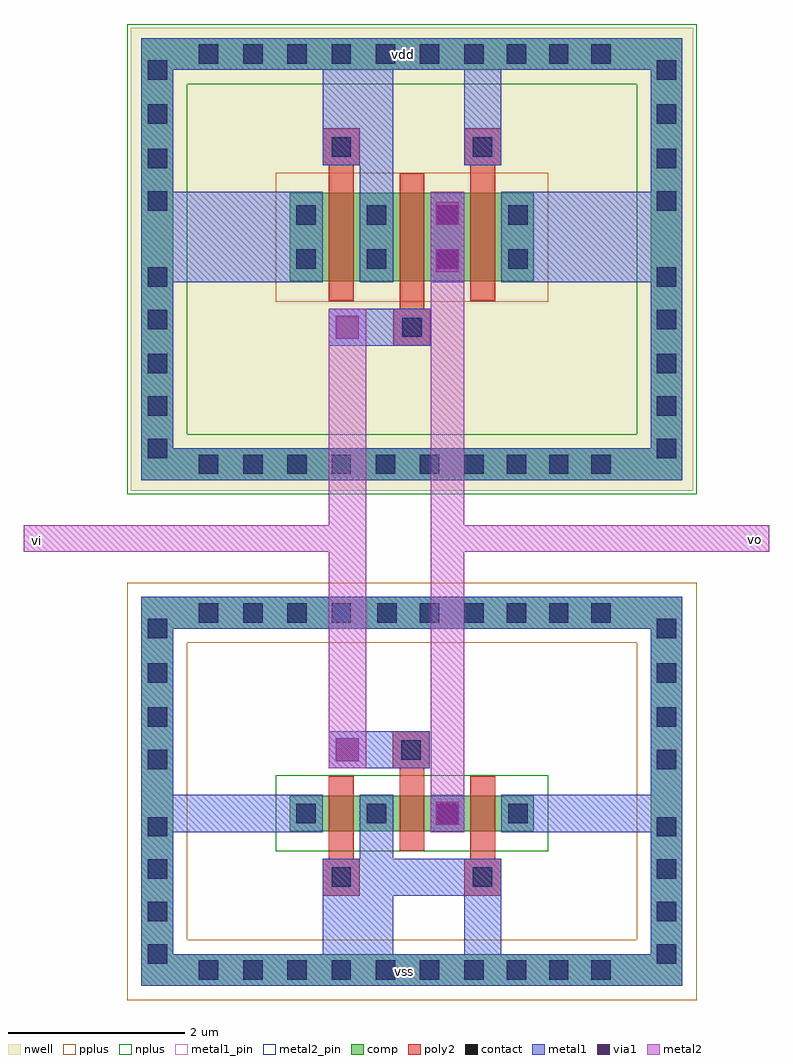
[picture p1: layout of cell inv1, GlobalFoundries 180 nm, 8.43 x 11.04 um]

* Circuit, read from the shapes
.subckt inv1 vdd vi vo vss
XM1 vss vss vss vss nfet_03v3 w=0.4u l=0.28u
XM2 vo vi vss vss nfet_03v3 w=0.4u l=0.28u
XM3 vss vss vo vss nfet_03v3 w=0.4u l=0.28u
XM4 vdd vdd vdd vdd pfet_03v3 w=1u l=0.28u
XM5 vo vi vdd vdd pfet_03v3 w=1u l=0.28u
XM6 vdd vdd vo vdd pfet_03v3 w=1u l=0.28u
.ends

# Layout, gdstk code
import gdstk
lib = gdstk.Library(unit=1e-6, precision=1e-09)
def R(c, l, rs):  # rectangles x0, y0, x1, y1
    for r in rs: c.add(gdstk.rectangle(r[:2], r[2:], *l))
def A(c, l, x, y, w, h, nx, ny, dx, dy):  # array of equal rectangles
    R(c, l, [(x+i*dx, y+j*dy, x+i*dx+w, y+j*dy+h) for i in range(nx) for j in range(ny)])
nwell = (21, 0)
comp = (22, 0)
poly2 = (30, 0)
pplus = (31, 0)
nplus = (32, 0)
contact = (33, 0)
metal1 = (34, 0)
metal1_pin = (34, 10)
via1 = (35, 0)
metal2 = (36, 0)
metal2_pin = (36, 10)

pfet_7_1 = lib.new_cell('pfet$7$1')
R(pfet_7_1, nwell, [(-0.43,-0.43,3.19,1.43)])
R(pfet_7_1, comp, [(0,0,2.76,1)])
A(pfet_7_1, poly2, 0.44, -0.22, 0.28, 1.44, 3, 1, 0.8, 0)
R(pfet_7_1, pplus, [(-0.16,-0.23,2.92,1.23)])
A(pfet_7_1, contact, 0.07, 0.14, 0.22, 0.22, 4, 2, 0.8, 0.5)
A(pfet_7_1, metal1, -0.01, -0.01, 0.38, 1.02, 4, 1, 0.8, 0)

nfet_7_1 = lib.new_cell('nfet$7$1')
R(nfet_7_1, comp, [(0,0,2.76,0.4)])
A(nfet_7_1, poly2, 0.44, -0.22, 0.28, 0.84, 3, 1, 0.8, 0)
R(nfet_7_1, nplus, [(-0.16,-0.23,2.92,0.63)])
A(nfet_7_1, contact, 0.07, 0.09, 0.22, 0.22, 4, 1, 0.8, 0)
A(nfet_7_1, metal1, -0.01, -0.01, 0.38, 0.42, 4, 1, 0.8, 0)

inv1 = lib.new_cell('inv1')
R(inv1, nwell, [(16.74,-0.59,23.1,4.65)])
R(inv1, comp, [(16.86,-6.19,17.38,-5.83), (16.86,-6.19,17.38,-5.83), (17.38,-6.19,20.86,-5.83), (17.38,-6.19,20.86,-5.83), (20.86,-6.19,21.34,-5.83), (20.86,-6.19,21.34,-5.83), (21.34,-6.19,21.82,-5.83), (21.34,-6.19,21.82,-5.83), (21.82,-6.19,22.3,-5.83), (21.82,-6.19,22.3,-5.83), (22.3,-6.19,22.46,-5.83), (22.3,-6.19,22.46,-5.83), (22.3,-6.19,22.46,-5.83), (22.3,-6.19,22.46,-5.83), (22.46,-6.19,22.98,-5.83), (22.46,-6.19,22.98,-5.83), (16.86,-5.83,17.22,-4.22), (16.86,-5.83,17.22,-4.22), (22.62,-5.83,22.98,-4.22), (22.62,-5.83,22.98,-4.22), (16.86,-4.59,17.22,-4.11), (16.86,-4.59,17.22,-4.11), (22.62,-4.59,22.98,-4.11), (22.62,-4.59,22.98,-4.11), (16.86,-4.11,17.22,-3.87), (16.86,-4.11,17.22,-3.87), (22.62,-4.11,22.98,-3.87), (22.62,-4.11,22.98,-3.87), (16.86,-3.87,17.22,-3.39), (16.86,-3.87,17.22,-3.39), (22.62,-3.87,22.98,-3.39), (22.62,-3.87,22.98,-3.39), (16.86,-3.76,17.22,-2.15), (16.86,-3.76,17.22,-2.15), (22.62,-3.76,22.98,-2.15), (22.62,-3.76,22.98,-2.15), (16.86,-2.15,17.38,-1.79), (16.86,-2.15,17.38,-1.79), (17.38,-2.15,20.86,-1.79), (17.38,-2.15,20.86,-1.79), (20.86,-2.15,21.34,-1.79), (20.86,-2.15,21.34,-1.79), (21.34,-2.15,21.82,-1.79), (21.34,-2.15,21.82,-1.79), (21.82,-2.15,22.3,-1.79), (21.82,-2.15,22.3,-1.79), (22.3,-2.15,22.46,-1.79), (22.3,-2.15,22.46,-1.79), (22.46,-2.15,22.98,-1.79), (22.46,-2.15,22.98,-1.79), (16.86,-0.47,17.38,-0.11), (16.86,-0.47,17.38,-0.11), (17.38,-0.47,20.86,-0.11), (17.38,-0.47,20.86,-0.11), (20.86,-0.47,21.34,-0.11), (20.86,-0.47,21.34,-0.11), (21.34,-0.47,21.82,-0.11), (21.34,-0.47,21.82,-0.11), (21.82,-0.47,22.3,-0.11), (21.82,-0.47,22.3,-0.11), (22.3,-0.47,22.46,-0.11), (22.46,-0.47,22.98,-0.11), (22.46,-0.47,22.98,-0.11), (16.86,-0.11,17.22,0.49), (22.62,-0.11,22.98,0.49), (16.86,0.49,17.22,2.1), (16.86,0.49,17.22,2.1), (22.62,0.49,22.98,2.1), (22.62,0.49,22.98,2.1), (16.86,1.73,17.22,2.21), (16.86,1.73,17.22,2.21), (22.62,1.73,22.98,2.21), (22.62,1.73,22.98,2.21), (16.86,2.21,17.22,2.45), (16.86,2.21,17.22,2.45), (22.62,2.21,22.98,2.45), (22.62,2.21,22.98,2.45), (16.86,2.45,17.22,2.93), (16.86,2.45,17.22,2.93), (22.62,2.45,22.98,2.93), (22.62,2.45,22.98,2.93), (16.86,2.56,17.22,4.17), (16.86,2.56,17.22,4.17), (22.62,2.56,22.98,4.17), (22.62,2.56,22.98,4.17), (16.86,4.17,17.38,4.53), (16.86,4.17,17.38,4.53), (17.38,4.17,20.86,4.53), (17.38,4.17,20.86,4.53), (20.86,4.17,21.34,4.53), (20.86,4.17,21.34,4.53), (21.34,4.17,21.82,4.53), (21.34,4.17,21.82,4.53), (21.82,4.17,22.3,4.53), (21.82,4.17,22.3,4.53), (22.3,4.17,22.46,4.53), (22.46,4.17,22.62,4.53), (22.46,4.17,22.62,4.53), (22.46,4.17,22.98,4.53), (22.46,4.17,22.98,4.53)])
R(inv1, poly2, [(18.91,-5.17,19.33,-4.75), (18.91,-5.17,19.33,-4.75), (20.51,-5.17,20.93,-4.75), (20.51,-5.17,20.93,-4.75), (18.98,-4.75,19.26,-4.66), (20.58,-4.75,20.86,-4.66), (19.78,-3.82,20.06,-3.73), (19.7,-3.73,20.12,-3.31), (19.7,-3.73,20.12,-3.31), (19.71,1.05,20.13,1.47), (19.78,1.47,20.06,1.56), (18.98,3,19.26,3.09), (20.58,3,20.86,3.09), (18.91,3.09,19.33,3.51), (18.91,3.09,19.33,3.51), (20.51,3.09,20.93,3.51), (20.51,3.09,20.93,3.51)])
R(inv1, pplus, [(16.7,-6.35,17.38,-5.75), (17.38,-6.35,22.46,-5.67), (17.38,-6.35,22.46,-5.67), (22.46,-6.35,23.14,-5.75), (16.7,-5.83,17.38,-1.63), (22.46,-5.83,23.14,-1.63), (17.38,-2.31,22.46,-1.63), (17.38,-2.31,22.46,-1.63)])
R(inv1, nplus, [(16.7,-0.63,17.38,-0.03), (17.38,-0.63,22.46,0.05), (22.46,-0.63,23.14,-0.03), (16.7,-0.03,17.38,4.69), (22.46,-0.03,23.14,4.69), (17.38,4.01,22.46,4.69)])
A(inv1, contact, 16.93, -0.22, 0.22, 0.22, 1, 3, 0, 0.48)
A(inv1, contact, 22.69, -0.22, 0.22, 0.22, 1, 3, 0, 0.48)
R(inv1, contact, [(17.51,-6.12,17.73,-5.9), (17.51,-6.12,17.73,-5.9), (18.01,-6.12,18.23,-5.9), (18.01,-6.12,18.23,-5.9), (18.51,-6.12,18.73,-5.9), (18.51,-6.12,18.73,-5.9), (19.01,-6.12,19.23,-5.9), (19.01,-6.12,19.23,-5.9), (19.51,-6.12,19.73,-5.9), (19.51,-6.12,19.73,-5.9), (20.01,-6.12,20.23,-5.9), (20.01,-6.12,20.23,-5.9), (20.51,-6.12,20.73,-5.9), (20.51,-6.12,20.73,-5.9), (20.99,-6.12,21.21,-5.9), (20.99,-6.12,21.21,-5.9), (21.47,-6.12,21.69,-5.9), (21.47,-6.12,21.69,-5.9), (21.95,-6.12,22.17,-5.9), (21.95,-6.12,22.17,-5.9), (16.93,-5.94,17.15,-5.72), (16.93,-5.94,17.15,-5.72), (22.69,-5.94,22.91,-5.72), (22.69,-5.94,22.91,-5.72), (16.93,-5.46,17.15,-5.24), (16.93,-5.46,17.15,-5.24), (22.69,-5.46,22.91,-5.24), (22.69,-5.46,22.91,-5.24), (19.01,-5.07,19.23,-4.85), (19.01,-5.07,19.23,-4.85), (20.61,-5.07,20.83,-4.85), (20.61,-5.07,20.83,-4.85), (16.93,-4.98,17.15,-4.76), (16.93,-4.98,17.15,-4.76), (22.69,-4.98,22.91,-4.76), (22.69,-4.98,22.91,-4.76), (16.93,-4.5,17.15,-4.28), (22.69,-4.5,22.91,-4.28), (16.93,-3.74,17.15,-3.52), (16.93,-3.74,17.15,-3.52), (22.69,-3.74,22.91,-3.52), (22.69,-3.74,22.91,-3.52), (19.8,-3.63,20.02,-3.41), (19.8,-3.63,20.02,-3.41), (16.93,-3.26,17.15,-3.04), (16.93,-3.26,17.15,-3.04), (22.69,-3.26,22.91,-3.04), (22.69,-3.26,22.91,-3.04), (16.93,-2.76,17.15,-2.54), (16.93,-2.76,17.15,-2.54), (22.69,-2.76,22.91,-2.54), (22.69,-2.76,22.91,-2.54), (16.93,-2.26,17.15,-2.04), (16.93,-2.26,17.15,-2.04), (22.69,-2.26,22.91,-2.04), (22.69,-2.26,22.91,-2.04), (17.51,-2.08,17.73,-1.86), (17.51,-2.08,17.73,-1.86), (18.01,-2.08,18.23,-1.86), (18.01,-2.08,18.23,-1.86), (18.51,-2.08,18.73,-1.86), (18.51,-2.08,18.73,-1.86), (19.01,-2.08,19.23,-1.86), (19.01,-2.08,19.23,-1.86), (19.53,-2.08,19.75,-1.86), (20.01,-2.08,20.23,-1.86), (20.01,-2.08,20.23,-1.86), (20.51,-2.08,20.73,-1.86), (20.51,-2.08,20.73,-1.86), (20.99,-2.08,21.21,-1.86), (20.99,-2.08,21.21,-1.86), (21.47,-2.08,21.69,-1.86), (21.47,-2.08,21.69,-1.86), (21.95,-2.08,22.17,-1.86), (21.95,-2.08,22.17,-1.86), (17.51,-0.4,17.73,-0.18), (17.51,-0.4,17.73,-0.18), (18.01,-0.4,18.23,-0.18), (18.01,-0.4,18.23,-0.18), (18.51,-0.4,18.73,-0.18), (18.51,-0.4,18.73,-0.18), (19.01,-0.4,19.23,-0.18), (19.01,-0.4,19.23,-0.18), (19.51,-0.4,19.73,-0.18), (19.51,-0.4,19.73,-0.18), (20.01,-0.4,20.23,-0.18), (20.01,-0.4,20.23,-0.18), (20.51,-0.4,20.73,-0.18), (20.51,-0.4,20.73,-0.18), (20.99,-0.4,21.21,-0.18), (20.99,-0.4,21.21,-0.18), (21.47,-0.4,21.69,-0.18), (21.47,-0.4,21.69,-0.18), (21.95,-0.4,22.17,-0.18), (21.95,-0.4,22.17,-0.18), (16.93,-0.22,17.15,0), (22.69,-0.22,22.91,0), (16.93,0.74,17.15,0.96), (22.69,0.74,22.91,0.96), (19.81,1.15,20.03,1.37), (19.81,1.15,20.03,1.37), (16.93,1.24,17.15,1.46), (16.93,1.24,17.15,1.46), (22.69,1.24,22.91,1.46), (22.69,1.24,22.91,1.46), (16.93,1.72,17.15,1.94), (16.93,1.72,17.15,1.94), (22.69,1.72,22.91,1.94), (22.69,1.72,22.91,1.94), (16.93,2.58,17.15,2.8), (16.93,2.58,17.15,2.8), (22.69,2.58,22.91,2.8), (22.69,2.58,22.91,2.8), (16.93,3.06,17.15,3.28), (16.93,3.06,17.15,3.28), (22.69,3.06,22.91,3.28), (22.69,3.06,22.91,3.28), (19.01,3.19,19.23,3.41), (19.01,3.19,19.23,3.41), (20.61,3.19,20.83,3.41), (20.61,3.19,20.83,3.41), (16.93,3.56,17.15,3.78), (16.93,3.56,17.15,3.78), (22.69,3.56,22.91,3.78), (22.69,3.56,22.91,3.78), (16.93,4.06,17.15,4.28), (16.93,4.06,17.15,4.28), (22.69,4.06,22.91,4.28), (22.69,4.06,22.91,4.28), (17.51,4.24,17.73,4.46), (17.51,4.24,17.73,4.46), (18.01,4.24,18.23,4.46), (18.01,4.24,18.23,4.46), (18.51,4.24,18.73,4.46), (18.51,4.24,18.73,4.46), (19.01,4.24,19.23,4.46), (19.01,4.24,19.23,4.46), (19.51,4.24,19.73,4.46), (19.51,4.24,19.73,4.46), (20.01,4.24,20.23,4.46), (20.01,4.24,20.23,4.46), (20.51,4.24,20.73,4.46), (20.51,4.24,20.73,4.46), (20.99,4.24,21.21,4.46), (20.99,4.24,21.21,4.46), (21.47,4.24,21.69,4.46), (21.47,4.24,21.69,4.46), (21.95,4.24,22.17,4.46), (21.95,4.24,22.17,4.46)])
R(inv1, metal1, [(16.86,-6.19,17.38,-5.83), (16.86,-6.19,17.38,-5.83), (17.38,-6.19,20.86,-5.83), (17.38,-6.19,20.86,-5.83), (20.86,-6.19,21.34,-5.83), (20.86,-6.19,21.34,-5.83), (21.34,-6.19,21.82,-5.83), (21.34,-6.19,21.82,-5.83), (21.82,-6.19,22.3,-5.83), (21.82,-6.19,22.3,-5.83), (22.3,-6.19,22.46,-5.83), (22.3,-6.19,22.46,-5.83), (22.3,-6.19,22.46,-5.83), (22.3,-6.19,22.46,-5.83), (22.46,-6.19,22.98,-5.83), (22.46,-6.19,22.98,-5.83), (16.86,-5.83,17.22,-4.22), (16.86,-5.83,17.22,-4.22), (18.91,-5.83,19.33,-5.17), (19.33,-5.83,19.71,-4.45), (20.51,-5.83,20.93,-5.17), (22.62,-5.83,22.98,-4.22), (22.62,-5.83,22.98,-4.22), (18.91,-5.17,19.33,-4.75), (18.91,-5.17,19.33,-4.75), (19.71,-5.17,20.51,-4.75), (20.51,-5.17,20.93,-4.75), (16.86,-4.59,17.22,-4.11), (16.86,-4.59,17.22,-4.11), (22.62,-4.59,22.98,-4.11), (22.62,-4.59,22.98,-4.11), (17.22,-4.45,18.53,-4.03), (21.31,-4.45,22.62,-4.03), (16.86,-4.11,17.22,-3.87), (16.86,-4.11,17.22,-3.87), (22.62,-4.11,22.98,-3.87), (22.62,-4.11,22.98,-3.87), (16.86,-3.87,17.22,-3.39), (16.86,-3.87,17.22,-3.39), (22.62,-3.87,22.98,-3.39), (22.62,-3.87,22.98,-3.39), (16.86,-3.76,17.22,-2.15), (16.86,-3.76,17.22,-2.15), (22.62,-3.76,22.98,-2.15), (22.62,-3.76,22.98,-2.15), (18.98,-3.73,19.7,-3.31), (19.7,-3.73,20.12,-3.31), (19.7,-3.73,20.12,-3.31), (16.86,-2.15,17.38,-1.79), (16.86,-2.15,17.38,-1.79), (17.38,-2.15,20.86,-1.79), (17.38,-2.15,20.86,-1.79), (20.86,-2.15,21.34,-1.79), (20.86,-2.15,21.34,-1.79), (21.34,-2.15,21.82,-1.79), (21.34,-2.15,21.82,-1.79), (21.82,-2.15,22.3,-1.79), (21.82,-2.15,22.3,-1.79), (22.3,-2.15,22.46,-1.79), (22.3,-2.15,22.46,-1.79), (22.46,-2.15,22.98,-1.79), (22.46,-2.15,22.98,-1.79), (16.86,-0.47,17.38,-0.11), (16.86,-0.47,17.38,-0.11), (17.38,-0.47,20.86,-0.11), (17.38,-0.47,20.86,-0.11), (20.86,-0.47,21.34,-0.11), (21.34,-0.47,21.82,-0.11), (21.34,-0.47,21.82,-0.11), (21.82,-0.47,22.3,-0.11), (21.82,-0.47,22.3,-0.11), (22.3,-0.47,22.46,-0.11), (22.46,-0.47,22.98,-0.11), (22.46,-0.47,22.98,-0.11), (16.86,-0.11,17.22,0.49), (22.62,-0.11,22.98,0.49), (16.86,0.49,17.22,2.1), (16.86,0.49,17.22,2.1), (22.62,0.49,22.98,2.1), (22.62,0.49,22.98,2.1), (18.98,1.05,19.71,1.47), (19.71,1.05,20.13,1.47), (19.71,1.05,20.13,1.47), (16.86,1.73,17.22,2.21), (16.86,1.73,17.22,2.21), (22.62,1.73,22.98,2.21), (22.62,1.73,22.98,2.21), (17.22,1.77,18.53,2.79), (21.31,1.77,22.62,2.79), (16.86,2.21,17.22,2.45), (16.86,2.21,17.22,2.45), (22.62,2.21,22.98,2.45), (22.62,2.21,22.98,2.45), (16.86,2.45,17.22,2.93), (16.86,2.45,17.22,2.93), (22.62,2.45,22.98,2.93), (22.62,2.45,22.98,2.93), (16.86,2.56,17.22,4.17), (16.86,2.56,17.22,4.17), (22.62,2.56,22.98,4.17), (22.62,2.56,22.98,4.17), (19.33,2.79,19.71,4.17), (18.91,3.09,19.33,3.51), (18.91,3.09,19.33,3.51), (20.51,3.09,20.93,3.51), (20.51,3.09,20.93,3.51), (18.91,3.51,19.33,4.17), (20.51,3.51,20.93,4.17), (16.86,4.17,17.38,4.53), (16.86,4.17,17.38,4.53), (17.38,4.17,20.86,4.53), (17.38,4.17,20.86,4.53), (20.86,4.17,21.34,4.53), (20.86,4.17,21.34,4.53), (21.34,4.17,21.82,4.53), (21.34,4.17,21.82,4.53), (21.82,4.17,22.3,4.53), (21.82,4.17,22.3,4.53), (22.3,4.17,22.46,4.53), (22.46,4.17,22.98,4.53), (22.46,4.17,22.98,4.53), (22.46,4.17,22.62,4.53), (22.46,4.17,22.62,4.53)])
R(inv1, metal1_pin, [(19.81,-6.05,19.89,-5.99), (19.79,4.31,19.87,4.37)])
R(inv1, via1, [(20.19,-4.37,20.45,-4.11), (19.06,-3.65,19.32,-3.39), (19.06,1.13,19.32,1.39), (20.19,1.88,20.45,2.14), (20.19,2.42,20.45,2.68)])
R(inv1, metal2, [(20.13,-4.45,20.51,-4.03), (20.13,-4.03,20.51,1.77), (18.98,-3.73,19.4,1.47), (15.53,-1.28,18.98,-0.98), (20.51,-1.28,23.96,-0.98), (20.13,1.77,20.51,2.79)])
R(inv1, metal2_pin, [(15.66,-1.16,15.69,-1.13), (23.77,-1.16,23.83,-1.1)])
inv1.add(gdstk.Reference(pfet_7_1, (18.54,2.78), x_reflection=True))
inv1.add(gdstk.Reference(nfet_7_1, (18.54,-4.44)))
inv1.add(gdstk.Label('vdd', (19.82,4.34), layer=34, texttype=10))
inv1.add(gdstk.Label('vss', (19.83,-6.03), layer=34, texttype=10))
inv1.add(gdstk.Label('vi', (15.67,-1.15), layer=36, texttype=10))
inv1.add(gdstk.Label('vo', (23.79,-1.14), layer=36, texttype=10))

lib.write_gds('inv1.gds')
